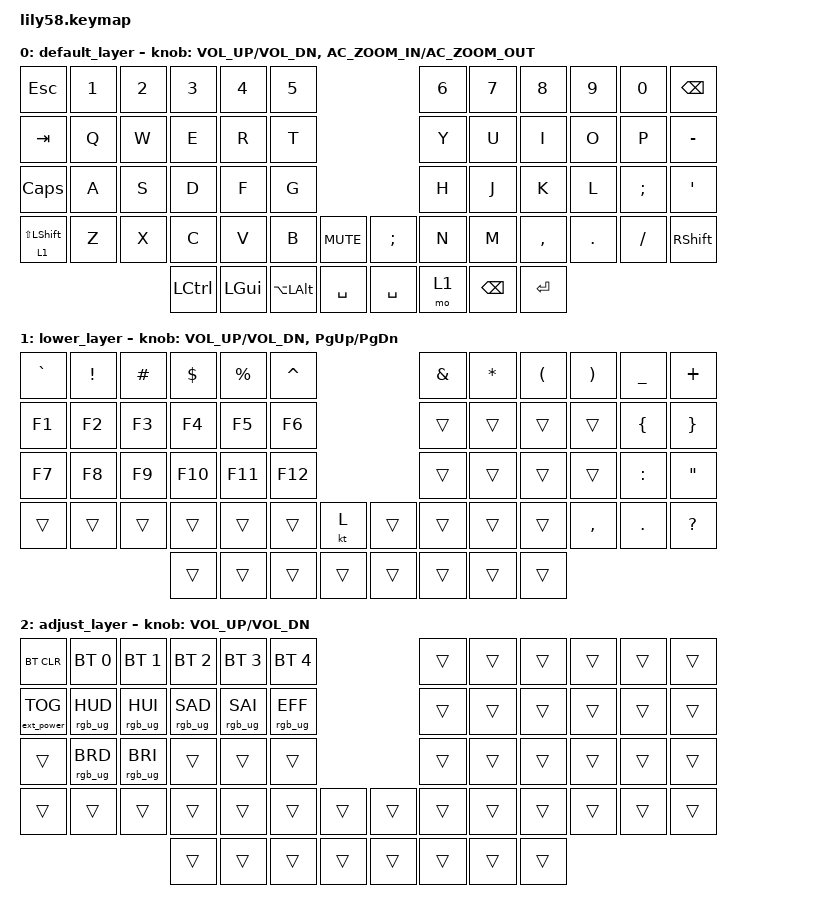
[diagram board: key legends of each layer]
/*
 * Copyright (c) 2020 The ZMK Contributors
 *
 * SPDX-License-Identifier: MIT
 */

#include <behaviors.dtsi>
#include <dt-bindings/zmk/bt.h>
#include <dt-bindings/zmk/ext_power.h>
#include <dt-bindings/zmk/keys.h>
#include <dt-bindings/zmk/rgb.h>

/ {
    // Activate ADJUST layer by pressing raise and lower

    conditional_layers {
        compatible = "zmk,conditional-layers";

        adjust_layer {
            if-layers = <1 2>;
            then-layer = <3>;
        };
    };

    keymap {
        compatible = "zmk,keymap";

        default_layer {
            // ------------------------------------------------------------------------------------------------------------
            // |  ESC  |  1  |  2  |  3   |  4   |  5   |                   |  6   |  7    |  8    |  9   |   0   |   `   |
            // |  TAB  |  Q  |  W  |  E   |  R   |  T   |                   |  Y   |  U    |  I    |  O   |   P   |   -   |
            // |  CTRL |  A  |  S  |  D   |  F   |  G   |                   |  H   |  J    |  K    |  L   |   ;   |   '   |
            // | SHIFT |  Z  |  X  |  C   |  V   |  B   |  MUTE  |  |RGB_TOG|  N   |  M    |  ,    |  .   |   /   | SHIFT |
            //                     | ALT  | GUI  | LOWER|  SPACE |  | ENTER | RAISE| BSPC  | GUI   |

            bindings = <
&kp ESC               &kp N1  &kp N2  &kp N3            &kp N4    &kp N5                                         &kp N6  &kp N7    &kp N8     &kp N9   &kp N0    &kp BACKSPACE
&kp TAB               &kp Q   &kp W   &kp E             &kp R     &kp T                                          &kp Y   &kp U     &kp I      &kp O    &kp P     &kp MINUS
&kp CAPSLOCK          &kp A   &kp S   &kp D             &kp F     &kp G                                          &kp H   &kp J     &kp K      &kp L    &kp SEMI  &kp SQT
&lt 1 LS(LEFT_SHIFT)  &kp Z   &kp X   &kp C             &kp V     &kp B             &kp C_MUTE    &kp SEMICOLON  &kp N   &kp M     &kp COMMA  &kp DOT  &kp FSLH  &kp RSHFT
                                      &kp LEFT_CONTROL  &kp LGUI  &kp LA(LEFT_ALT)  &kp SPACE     &kp SPACE      &mo 1   &kp BSPC  &kp ENTER
            >;

            sensor-bindings =
                <&inc_dec_kp C_VOL_UP C_VOL_DN>,
                <&inc_dec_kp C_AC_ZOOM_IN C_AC_ZOOM_OUT>;
        };

        lower_layer {
            // ------------------------------------------------------------------------------------------------------------
            // | BTCLR | BT1 | BT2 |  BT3 |  BT4 |  BT5 |                   |      |       |       |      |       |       |
            // |  F1   |  F2 |  F3 |  F4  |  F5  |  F6  |                   |  F7  |  F8   |  F9   |  F10 |  F11  |  F12  |
            // |   `   |  !  |  @  |  #   |  $   |  %   |                   |  ^   |  &    |  *    |  (   |   )   |   ~   |
            // |EXTPWR |     |     |      |      |      |        |  |       |      |  _    |  +    |  {   |   }   |  "|"  |
            //                     |      |      |      |        |  |       |      |       |       |

            bindings = <
&kp GRAVE  &kp EXCLAMATION  &kp HASH  &kp DOLLAR  &kp PERCENT  &kp CARET                    &kp AMPERSAND  &kp ASTERISK  &kp LEFT_PARENTHESIS  &kp RIGHT_PARENTHESIS  &kp UNDERSCORE  &kp PLUS
&kp F1     &kp F2           &kp F3    &kp F4      &kp F5       &kp F6                       &trans         &trans        &trans                &trans                 &kp LEFT_BRACE  &kp RIGHT_BRACE
&kp F7     &kp F8           &kp F9    &kp F10     &kp F11      &kp F12                      &trans         &trans        &trans                &trans                 &kp COLON       &kp DOUBLE_QUOTES
&trans     &trans           &trans    &trans      &trans       &trans     &kt L     &trans  &trans         &trans        &trans                &kp COMMA              &kp PERIOD      &kp QUESTION
                                      &trans      &trans       &trans     &trans    &trans  &trans         &trans        &trans
            >;

            sensor-bindings = <&inc_dec_kp C_VOL_UP C_VOL_DN &inc_dec_kp PG_UP PG_DN>;
        };

        adjust_layer {
            // ----------------------------------------------------------------------------------------------------------------------------
            // | BTCLR  |  BT1    |  BT2    |   BT3   |   BT4   |   BT5   |                  |      |      |       |      |       |       |
            // | EXTPWR | RGB_HUD | RGB_HUI | RGB_SAD | RGB_SAI | RGB_EFF |                  |      |      |       |      |       |       |
            // |        | RGB_BRD | RGB_BRI |         |         |         |                  |      |      |       |      |       |       |
            // |        |         |         |         |         |         | RGB_TOG | |      |      |      |       |      |       |       |
            //                    |         |         |         |         |         | |      |      |      |       |      |

            bindings = <
&bt BT_CLR         &bt BT_SEL 0     &bt BT_SEL 1     &bt BT_SEL 2     &bt BT_SEL 3     &bt BT_SEL 4                       &trans  &trans  &trans  &trans  &trans  &trans
&ext_power EP_TOG  &rgb_ug RGB_HUD  &rgb_ug RGB_HUI  &rgb_ug RGB_SAD  &rgb_ug RGB_SAI  &rgb_ug RGB_EFF                    &trans  &trans  &trans  &trans  &trans  &trans
&trans             &rgb_ug RGB_BRD  &rgb_ug RGB_BRI  &trans           &trans           &trans                             &trans  &trans  &trans  &trans  &trans  &trans
&trans             &trans           &trans           &trans           &trans           &trans           &trans    &trans  &trans  &trans  &trans  &trans  &trans  &trans
                                                     &trans           &trans           &trans           &trans    &trans  &trans  &trans  &trans
            >;

            sensor-bindings = <&inc_dec_kp C_VOL_UP C_VOL_DN>;
        };

        extra1 { status = "reserved"; };

        extra2 { status = "reserved"; };

        extra3 { status = "reserved"; };

        extra4 { status = "reserved"; };

        extra5 { status = "reserved"; };
    };
};
